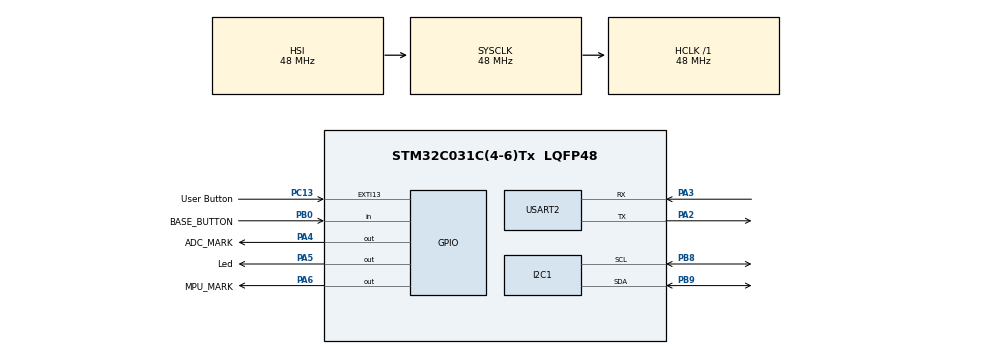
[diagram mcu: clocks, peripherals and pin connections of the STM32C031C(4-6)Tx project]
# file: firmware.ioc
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I2C1.Timing=0x20303E5D
Mcu.Family=STM32C0
Mcu.Name=STM32C031C(4-6)Tx
Mcu.Package=LQFP48
NVIC.EXTI4_15_IRQn=true\:0\:0\:false\:false\:true\:true\:true\:true
PA13.Mode=Serial_Wire
PA13.Signal=DEBUG_SWDIO
PA14-BOOT0.Mode=Serial_Wire
PA14-BOOT0.Signal=DEBUG_SWCLK
PA2.Mode=Asynchronous
PA2.Signal=USART2_TX
PA3.Mode=Asynchronous
PA3.Signal=USART2_RX
PA5.GPIO_Label=Led
PA5.GPIO_Speed=GPIO_SPEED_FREQ_VERY_HIGH
PA5.PinState=GPIO_PIN_RESET
PA5.Signal=GPIO_Output
PB8.Mode=I2C
PB8.Signal=I2C1_SCL
PB9.Mode=I2C
PB9.Signal=I2C1_SDA
PC13.GPIO_Label=User Button
PC13.Signal=GPXTI13
PC14-OSCX_IN\ (PC14).Mode=LSE-External-Oscillator
PC14-OSCX_IN\ (PC14).Signal=RCC_OSCX_IN
PC15-OSCX_OUT\ (PC15).Mode=LSE-External-Oscillator
PC15-OSCX_OUT\ (PC15).Signal=RCC_OSCX_OUT
PF0-OSC_IN\ (PF0).Mode=HSE-External-Oscillator
PF0-OSC_IN\ (PF0).Signal=RCC_OSC_IN
PF1-OSC_OUT\ (PF1).Mode=HSE-External-Oscillator
PF1-OSC_OUT\ (PF1).Signal=RCC_OSC_OUT
ProjectManager.HeapSize=0x200
ProjectManager.StackSize=0x400
ProjectManager.TargetToolchain=Makefile
RCC.ADCFreq_Value=48000000
RCC.AHBFreq_Value=48000000
RCC.CortexFreq_Value=48000000
RCC.EXTERNAL_CLOCK_VALUE=12288000
RCC.HCLKFreq_Value=48000000
RCC.HSE_VALUE=48000000
RCC.HSISYSCLKDivider=RCC_HSI_DIV1
RCC.HSI_VALUE=48000000
RCC.SYSCLKFreq_VALUE=48000000
USART2.VirtualMode-Asynchronous=VM_ASYNC
board=NUCLEO-C031C6
PA0.Signal=ADC_IN0
PB0.Signal=GPIO_Input
PB0.GPIO_PuPd=GPIO_PULLUP
PB0.GPIO_Label=BASE_BUTTON
PA4.Signal=GPIO_Output
PA4.GPIO_Label=ADC_MARK
PA6.Signal=GPIO_Output
PA6.GPIO_Label=MPU_MARK
ADC1.ClockPrescaler=ADC_CLOCK_SYNC_PCLK_DIV4
ADC1.Resolution=ADC_RESOLUTION_12B
ADC1.SamplingTimeCommon1=ADC_SAMPLETIME_160CYCLES_5
ADC1.NbrOfConversion=1
ADC1.Channel-0\#ChannelRegularConversion=ADC_CHANNEL_0
ADC1.Rank-0\#ChannelRegularConversion=1
ADC1.SamplingTime-0\#ChannelRegularConversion=ADC_SAMPLINGTIME_COMMON_1
NVIC.USART2_IRQn=true\:1\:0\:false\:false\:true\:true\:true\:true

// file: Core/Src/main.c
/* USER CODE BEGIN Header */
/**
  ******************************************************************************
  * @file           : main.c
  * @brief          : Main program body
  ******************************************************************************
  * @attention
  *
  * Copyright (c) 2023 STMicroelectronics.
  * All rights reserved.
  *
  * This software is licensed under terms that can be found in the LICENSE file
  * in the root directory of this software component.
  * If no LICENSE file comes with this software, it is provided AS-IS.
  *
  ******************************************************************************
  */
/* USER CODE END Header */
#include "main.h"

/* USER CODE BEGIN Includes */

#include <stdio.h>
#include "runtime.h"

/* USER CODE END Includes */

ADC_HandleTypeDef hadc1;
I2C_HandleTypeDef hi2c1;

UART_HandleTypeDef huart2;

void SystemClock_Config(void);
static void MX_GPIO_Init(void);
static void MX_ADC1_Init(void);
static void MX_I2C1_Init(void);
static void MX_USART2_UART_Init(void);

/* USER CODE BEGIN 0 */

int __io_putchar(int ch)
{
  uint8_t byte = (uint8_t)ch;
  if (HAL_UART_Transmit(&huart2, &byte, 1, HAL_MAX_DELAY) != HAL_OK)
  {
    return EOF;
  }
  return ch;
}

/* USER CODE END 0 */

int main(void)
{

  /* MCU Configuration--------------------------------------------------------*/

  /* Reset of all peripherals, Initializes the Flash interface and the Systick. */
  HAL_Init();

  /* Configure the system clock */
  SystemClock_Config();

  /* Initialize all configured peripherals */
  MX_GPIO_Init();
  MX_ADC1_Init();
  MX_I2C1_Init();
  MX_USART2_UART_Init();
  /* USER CODE BEGIN 2 */

  tt_board_start();

  /* USER CODE END 2 */

  /* Infinite loop */
  while (1)
  {

    /* USER CODE BEGIN 3 */
    tt_board_poll();
  }
  /* USER CODE END 3 */
}

void SystemClock_Config(void)
{
  RCC_OscInitTypeDef RCC_OscInitStruct = {0};
  RCC_ClkInitTypeDef RCC_ClkInitStruct = {0};

  /** Initializes the RCC Oscillators according to the specified parameters
  * in the RCC_OscInitTypeDef structure.
  */
  RCC_OscInitStruct.OscillatorType = RCC_OSCILLATORTYPE_HSI;
  RCC_OscInitStruct.HSIState = RCC_HSI_ON;
  RCC_OscInitStruct.HSIDiv = RCC_HSI_DIV1;
  RCC_OscInitStruct.HSICalibrationValue = RCC_HSICALIBRATION_DEFAULT;
  if (HAL_RCC_OscConfig(&RCC_OscInitStruct) != HAL_OK)
  {
    Error_Handler();
  }

  /** Initializes the CPU, AHB and APB buses clocks
  */
  RCC_ClkInitStruct.ClockType = RCC_CLOCKTYPE_HCLK|RCC_CLOCKTYPE_SYSCLK
                              |RCC_CLOCKTYPE_PCLK1;
  RCC_ClkInitStruct.SYSCLKSource = RCC_SYSCLKSOURCE_HSI;
  RCC_ClkInitStruct.SYSCLKDivider = RCC_SYSCLK_DIV1;
  RCC_ClkInitStruct.AHBCLKDivider = RCC_HCLK_DIV1;
  RCC_ClkInitStruct.APB1CLKDivider = RCC_APB1_DIV1;

  if (HAL_RCC_ClockConfig(&RCC_ClkInitStruct, FLASH_LATENCY_1) != HAL_OK)
  {
    Error_Handler();
  }
}

static void MX_I2C1_Init(void)
{

  hi2c1.Instance = I2C1;
  hi2c1.Init.Timing = 0x20303E5D;
  hi2c1.Init.OwnAddress1 = 0;
  hi2c1.Init.AddressingMode = I2C_ADDRESSINGMODE_7BIT;
  hi2c1.Init.DualAddressMode = I2C_DUALADDRESS_DISABLE;
  hi2c1.Init.OwnAddress2 = 0;
  hi2c1.Init.OwnAddress2Masks = I2C_OA2_NOMASK;
  hi2c1.Init.GeneralCallMode = I2C_GENERALCALL_DISABLE;
  hi2c1.Init.NoStretchMode = I2C_NOSTRETCH_DISABLE;
  if (HAL_I2C_Init(&hi2c1) != HAL_OK)
  {
    Error_Handler();
  }

  /** Configure Analogue filter
  */
  if (HAL_I2CEx_ConfigAnalogFilter(&hi2c1, I2C_ANALOGFILTER_ENABLE) != HAL_OK)
  {
    Error_Handler();
  }

  /** Configure Digital filter
  */
  if (HAL_I2CEx_ConfigDigitalFilter(&hi2c1, 0) != HAL_OK)
  {
    Error_Handler();
  }

}

static void MX_ADC1_Init(void)
{
  ADC_ChannelConfTypeDef channel = {0};
  hadc1.Instance = ADC1;
  hadc1.Init.ClockPrescaler = ADC_CLOCK_SYNC_PCLK_DIV4;
  hadc1.Init.Resolution = ADC_RESOLUTION_12B;
  hadc1.Init.DataAlign = ADC_DATAALIGN_RIGHT;
  hadc1.Init.ScanConvMode = ADC_SCAN_DISABLE;
  hadc1.Init.EOCSelection = ADC_EOC_SINGLE_CONV;
  hadc1.Init.LowPowerAutoWait = DISABLE;
  hadc1.Init.LowPowerAutoPowerOff = DISABLE;
  hadc1.Init.ContinuousConvMode = DISABLE;
  hadc1.Init.NbrOfConversion = 1;
  hadc1.Init.DiscontinuousConvMode = DISABLE;
  hadc1.Init.ExternalTrigConv = ADC_SOFTWARE_START;
  hadc1.Init.ExternalTrigConvEdge = ADC_EXTERNALTRIGCONVEDGE_NONE;
  hadc1.Init.DMAContinuousRequests = DISABLE;
  hadc1.Init.Overrun = ADC_OVR_DATA_OVERWRITTEN;
  hadc1.Init.SamplingTimeCommon1 = ADC_SAMPLETIME_160CYCLES_5;
  hadc1.Init.SamplingTimeCommon2 = ADC_SAMPLETIME_160CYCLES_5;
  hadc1.Init.OversamplingMode = DISABLE;
  if (HAL_ADC_Init(&hadc1) != HAL_OK) Error_Handler();
  channel.Channel = ADC_CHANNEL_0;
  channel.Rank = ADC_REGULAR_RANK_1;
  channel.SamplingTime = ADC_SAMPLINGTIME_COMMON_1;
  if (HAL_ADC_ConfigChannel(&hadc1, &channel) != HAL_OK) Error_Handler();
}

static void MX_USART2_UART_Init(void)
{

  huart2.Instance = USART2;
  huart2.Init.BaudRate = 115200;
  huart2.Init.WordLength = UART_WORDLENGTH_8B;
  huart2.Init.StopBits = UART_STOPBITS_1;
  huart2.Init.Parity = UART_PARITY_NONE;
  huart2.Init.Mode = UART_MODE_TX_RX;
  huart2.Init.HwFlowCtl = UART_HWCONTROL_NONE;
  huart2.Init.OverSampling = UART_OVERSAMPLING_16;
  huart2.Init.OneBitSampling = UART_ONE_BIT_SAMPLE_DISABLE;
  huart2.Init.ClockPrescaler = UART_PRESCALER_DIV1;
  huart2.AdvancedInit.AdvFeatureInit = UART_ADVFEATURE_NO_INIT;
  if (HAL_UART_Init(&huart2) != HAL_OK)
  {
    Error_Handler();
  }

}

static void MX_GPIO_Init(void)
{
  GPIO_InitTypeDef GPIO_InitStruct = {0};

  /* GPIO Ports Clock Enable */
  __HAL_RCC_GPIOC_CLK_ENABLE();
  __HAL_RCC_GPIOF_CLK_ENABLE();
  __HAL_RCC_GPIOA_CLK_ENABLE();
  __HAL_RCC_GPIOB_CLK_ENABLE();

  /*Configure GPIO pin Output Level */
  HAL_GPIO_WritePin(Led_GPIO_Port, Led_Pin, GPIO_PIN_RESET);

  /*Configure GPIO pin : User_Button_Pin */
  GPIO_InitStruct.Pin = User_Button_Pin;
  GPIO_InitStruct.Mode = GPIO_MODE_IT_RISING;
  GPIO_InitStruct.Pull = GPIO_NOPULL;
  HAL_GPIO_Init(User_Button_GPIO_Port, &GPIO_InitStruct);

  /*Configure GPIO pin : Led_Pin */
  GPIO_InitStruct.Pin = Led_Pin;
  GPIO_InitStruct.Mode = GPIO_MODE_OUTPUT_PP;
  GPIO_InitStruct.Pull = GPIO_NOPULL;
  GPIO_InitStruct.Speed = GPIO_SPEED_FREQ_VERY_HIGH;
  HAL_GPIO_Init(Led_GPIO_Port, &GPIO_InitStruct);

  /* EXTI interrupt init*/
  HAL_NVIC_SetPriority(EXTI4_15_IRQn, 0, 0);
  HAL_NVIC_EnableIRQ(EXTI4_15_IRQn);

/* USER CODE BEGIN MX_GPIO_Init_2 */
  GPIO_InitStruct.Pin = GPIO_PIN_0;
  GPIO_InitStruct.Mode = GPIO_MODE_INPUT;
  GPIO_InitStruct.Pull = GPIO_PULLUP;
  HAL_GPIO_Init(GPIOB, &GPIO_InitStruct);
  GPIO_InitStruct.Pin = GPIO_PIN_4 | GPIO_PIN_6;
  GPIO_InitStruct.Mode = GPIO_MODE_OUTPUT_PP;
  GPIO_InitStruct.Pull = GPIO_NOPULL;
  GPIO_InitStruct.Speed = GPIO_SPEED_FREQ_LOW;
  HAL_GPIO_Init(GPIOA, &GPIO_InitStruct);
  HAL_GPIO_WritePin(GPIOA, GPIO_PIN_4 | GPIO_PIN_6, GPIO_PIN_RESET);
/* USER CODE END MX_GPIO_Init_2 */
}

void Error_Handler(void)
{
  __disable_irq();
  while (1)
  {
  }
}
